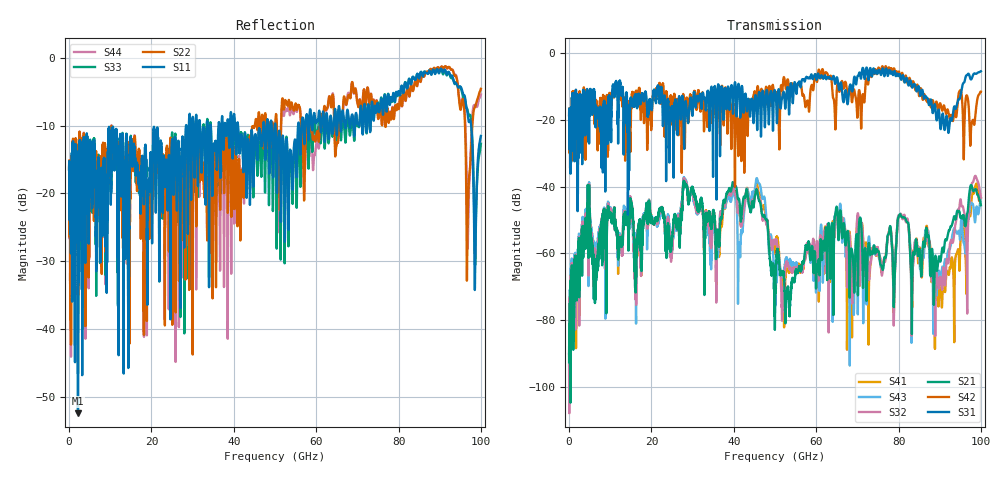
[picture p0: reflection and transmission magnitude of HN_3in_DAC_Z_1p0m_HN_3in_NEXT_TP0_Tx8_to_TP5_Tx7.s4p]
# GHz S RI R 45
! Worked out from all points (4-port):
!   4000 points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, 25 MHz to 100 GHz, reference 45 ohm
!   strongest paths, dB at 25 MHz, 25.02 GHz, 50.02 GHz, 75.03 GHz, 100 GHz:
!     S31: -18.6, -16.5, -11.2, -5.4, -5.4
!     S42: -18.6, -16.6, -12.4, -4.6, -11.5
!     S21: -90.2, -55.2, -72.8, -59.5, -45.6
!     S32: -92.3, -57.4, -57.3, -58.8, -43.4
!     S43: -88.3, -57.0, -74.5, -59.9, -43.5
!     S41: -89.5, -55.8, -58.1, -59.3, -43.4
!   lowest |S11| = -52.5 dB at 2.175 GHz (marker M1), VSWR 1.00, Z = 44.8 + j0.0812 ohm
!   |S11| at or under -10 dB: start of sweep to 28.4 GHz; 41.04 GHz to 47.14 GHz (6.101 GHz wide, 13.8 % of centre); 50.13 GHz to 55.61 GHz (5.475 GHz wide, 10.4 % of centre) (the widest 3 of 37)
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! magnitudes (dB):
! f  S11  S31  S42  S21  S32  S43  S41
! 25 MHz  -16.4  -18.6  -18.6  -90.2  -92.3  -88.3  -89.5
! 2.175 GHz  -52.5  -28.5  -26.7  -66.2  -63.9  -60.9  -63.6
! 45.67 GHz  -15.0  -22.7  -10.7  -41.2  -40.9  -37.7  -39.3
! 53 GHz  -13.9  -10.2  -8.1  -71.0  -62.9  -62.2  -63.6
! 80.4 GHz  -5.5  -6.7  -7.2  -48.3  -48.4  -48.2  -48.4
! 90.1 GHz  -1.7  -21.6  -15.0  -62.4  -67.1  -67.7  -68.1
! 100 GHz  -11.5  -5.4  -11.5  -45.6  -43.4  -43.5  -43.4
